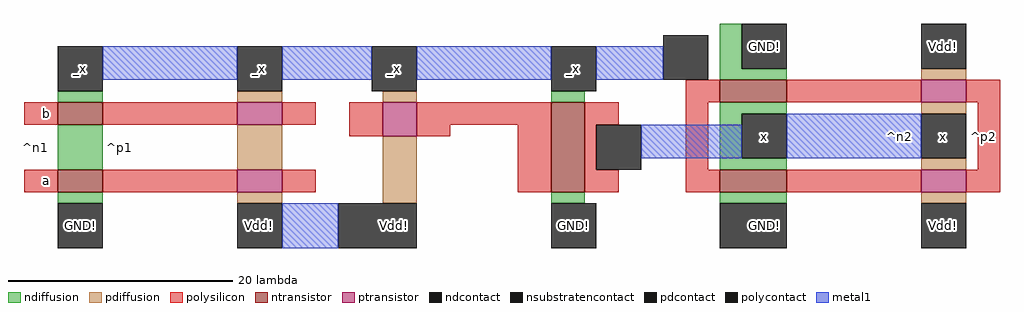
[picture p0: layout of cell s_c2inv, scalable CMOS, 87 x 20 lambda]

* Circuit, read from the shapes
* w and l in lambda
.subckt s_c2inv GND! Vdd! _x a b x
M1 n1 a GND! VSUBS nfet w=4 l=2
M2 _x b n1 VSUBS nfet w=4 l=2
M3 _x x GND! VSUBS nfet w=3 l=8
M4 x _x GND! VSUBS nfet w=6 l=2 m=2
M5 n2 a Vdd! Vdd! pfet w=4 l=2
M6 _x b n2 Vdd! pfet w=4 l=2
M7 _x x Vdd! Vdd! pfet w=3 l=3
M8 x _x Vdd! Vdd! pfet w=4 l=2 m=2
.ends

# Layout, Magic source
magic
tech scmos
<< ntransistor >>
rect 63 8 69 10
rect 4 6 8 8
rect 4 0 8 2
rect 48 0 51 8
rect 63 0 69 2
<< ptransistor >>
rect 81 8 85 10
rect 20 6 24 8
rect 33 5 36 8
rect 20 0 24 2
rect 81 0 85 2
<< ndiffusion >>
rect 4 8 8 9
rect 63 11 65 15
rect 63 10 69 11
rect 48 8 51 9
rect 4 2 8 6
rect 4 -1 8 0
rect 63 7 69 8
rect 63 3 65 7
rect 63 2 69 3
rect 48 -1 51 0
rect 63 -1 69 0
<< pdiffusion >>
rect 20 8 24 9
rect 33 8 36 9
rect 81 10 85 11
rect 20 2 24 6
rect 20 -1 24 0
rect 33 -1 36 5
rect 81 7 85 8
rect 81 2 85 3
rect 81 -1 85 0
<< ndcontact >>
rect 4 9 8 13
rect 48 9 52 13
rect 65 11 69 15
rect 4 -5 8 -1
rect 65 3 69 7
rect 48 -5 52 -1
rect 63 -5 69 -1
<< pdcontact >>
rect 20 9 24 13
rect 32 9 36 13
rect 81 11 85 15
rect 81 3 85 7
rect 20 -5 24 -1
rect 81 -5 85 -1
<< nsubstratencontact >>
rect 29 -5 36 -1
<< polysilicon >>
rect 60 8 63 10
rect 69 8 81 10
rect 85 8 88 10
rect 1 6 4 8
rect 8 6 20 8
rect 24 6 27 8
rect 30 5 33 8
rect 36 6 48 8
rect 36 5 39 6
rect 1 0 4 2
rect 8 0 20 2
rect 24 0 27 2
rect 45 0 48 6
rect 51 6 54 8
rect 51 2 52 6
rect 60 2 62 8
rect 86 2 88 8
rect 51 0 54 2
rect 60 0 63 2
rect 69 0 81 2
rect 85 0 88 2
<< polycontact >>
rect 58 10 62 14
rect 52 2 56 6
<< metal1 >>
rect 8 10 20 13
rect 24 10 32 13
rect 36 10 48 13
rect 52 10 58 13
rect 56 3 65 6
rect 69 3 81 7
rect 24 -5 29 -1
<< labels >>
rlabel ndcontact 67 -3 67 -3 1 GND!
rlabel ndcontact 67 13 67 13 5 GND!
rlabel pdcontact 83 5 83 5 1 x
rlabel ndcontact 67 5 67 5 1 x
rlabel pdcontact 83 13 83 13 5 Vdd!
rlabel ndcontact 50 -3 50 -3 1 GND!
rlabel pdcontact 34 11 34 11 4 _x
rlabel nsubstratencontact 34 -3 34 -3 1 Vdd!
rlabel ndcontact 50 11 50 11 5 _x
rlabel pdcontact 22 -3 22 -3 1 Vdd!
rlabel pdcontact 22 11 22 11 1 _x
rlabel pdcontact 83 -3 83 -3 1 Vdd!
rlabel space 84 -6 89 16 3 ^p2
rlabel space 68 -7 90 17 3 ^n2
rlabel ndcontact 6 -3 6 -3 1 GND!
rlabel polysilicon 3 1 3 1 3 a
rlabel polysilicon 3 7 3 7 3 b
rlabel ndcontact 6 11 6 11 1 _x
rlabel space 0 -5 4 13 7 ^n1
rlabel space -1 -6 20 14 7 ^p1
<< end >>
